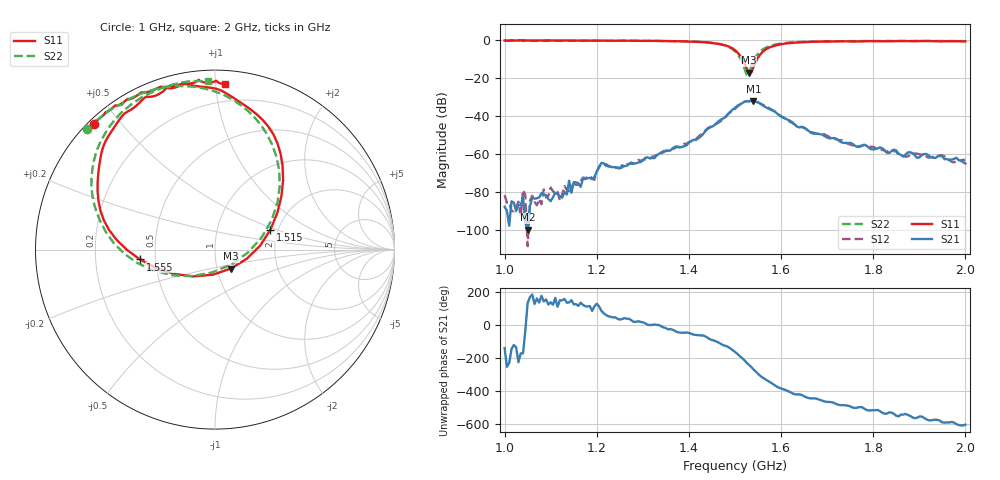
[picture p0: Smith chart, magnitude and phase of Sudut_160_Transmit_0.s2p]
# Hz S RI R 50
! CMT, C1220, 16058040, 17.2.0/1
! Date: 15/08/2018 09:04:11
! Data: Format (Calibration Info)
! Freq  S11: Re/Im (F2)  S21: Re/Im (F2)  S12: Re/Im (F2)  S22: Re/Im (F2)
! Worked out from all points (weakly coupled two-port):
!   201 points, 1 GHz to 2 GHz, reference 50 ohm
!   highest |S21| = -32.10 dB at 1.54 GHz (marker M1); lowest = -100.0 dB at 1.05 GHz (marker M2)
!   lowest |S11| = -17.2 dB at 1.53 GHz (marker M3), VSWR 1.32, Z = 58.4 - j12.5 ohm
!   |S11| at or under -10 dB: 1.516 GHz to 1.548 GHz (32.55 MHz wide, 2.12 % of centre)
!   |S22| runs from -18.3 to -0.2 dB; largest |S21 - S12| = 0.0011
!   S11 on the Smith chart (normalised r, x): 1 GHz: 0.02, +0.43; 1.515 GHz: 1.82, +0.46; 1.555 GHz: 0.41, -0.05; 2 GHz: 0.08, +1.06
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1e9  -0.6757 0.7014  -3.05e-05 -2.54e-05  -5.39e-05 -6.14e-05  -0.7117 0.6705
1.05e9  -0.6383 0.7342  -7.18e-06 6.92e-06  -1.76e-06 3.19e-06  -0.6728 0.7066
1.135e9  -0.5555 0.8029  -6.16e-05 5.73e-05  -9.55e-05 5.73e-05  -0.5972 0.7684
1.14e9  -0.5535 0.8035  -0.000146 0.000128  -7.72e-05 7.09e-05  -0.5927 0.7712
1.145e9  -0.5517 0.8029  -8.31e-05 4.27e-05  -0.000104 8.48e-05  -0.5878 0.7744
1.15e9  -0.5484 0.8022  -0.000107 0.000142  -0.000148 6.76e-05  -0.5822 0.7781
1.165e9  -0.5275 0.8095  -9.88e-05 9.1e-05  -0.000128 0.000142  -0.5651 0.7896
1.17e9  -0.5174 0.8156  -0.000122 0.000181  -0.000149 0.000183  -0.5601 0.7924
1.195e9  -0.4851 0.8405  -0.000107 0.000222  -0.000108 0.000176  -0.5282 0.8051
1.21e9  -0.481 0.8377  2.42e-05 0.000572  1.69e-05 0.000554  -0.5191 0.8068
1.25e9  -0.4118 0.8748  0.000339 0.000232  0.000317 0.000275  -0.4732 0.8412
1.335e9  -0.282 0.9059  0.000992 1.62e-05  0.001 -8.8e-05  -0.328 0.8946
1.45e9  0.1267 0.8298  -2.02e-05 -0.00518  -0.000396 -0.0053  0.0876 0.8419
1.5e9  0.3796 0.387  -0.0155 -0.00477  -0.0145 -0.00443  0.3607 0.3558
1.515e9  0.3091 0.1117  -0.0202 0.00705  -0.0206 0.00654  0.2616 0.0703
1.53e9  0.0895 -0.1054  -0.0116 0.0213  -0.0118 0.0214  -0.0203 -0.1286
1.54e9  -0.1211 -0.1494  -0.000317 0.0248  -0.000434 0.0246  -0.2451 -0.142
1.555e9  -0.4171 -0.0551  0.0132 0.0162  0.0128 0.0171  -0.5062 -0.0221
1.59e9  -0.6542 0.326  0.0117 -0.00279  0.0117 -0.00315  -0.6887 0.3581
1.67e9  -0.5139 0.7477  0.00021 -0.0034  0.000217 -0.00361  -0.5529 0.7288
1.835e9  -0.1937 0.9162  -0.00104 -0.000157  -0.00122 -8e-05  -0.2762 0.9068
2e9  0.0582 0.9221  -0.000217 0.000509  -0.00024 0.000608  -0.041 0.9411
